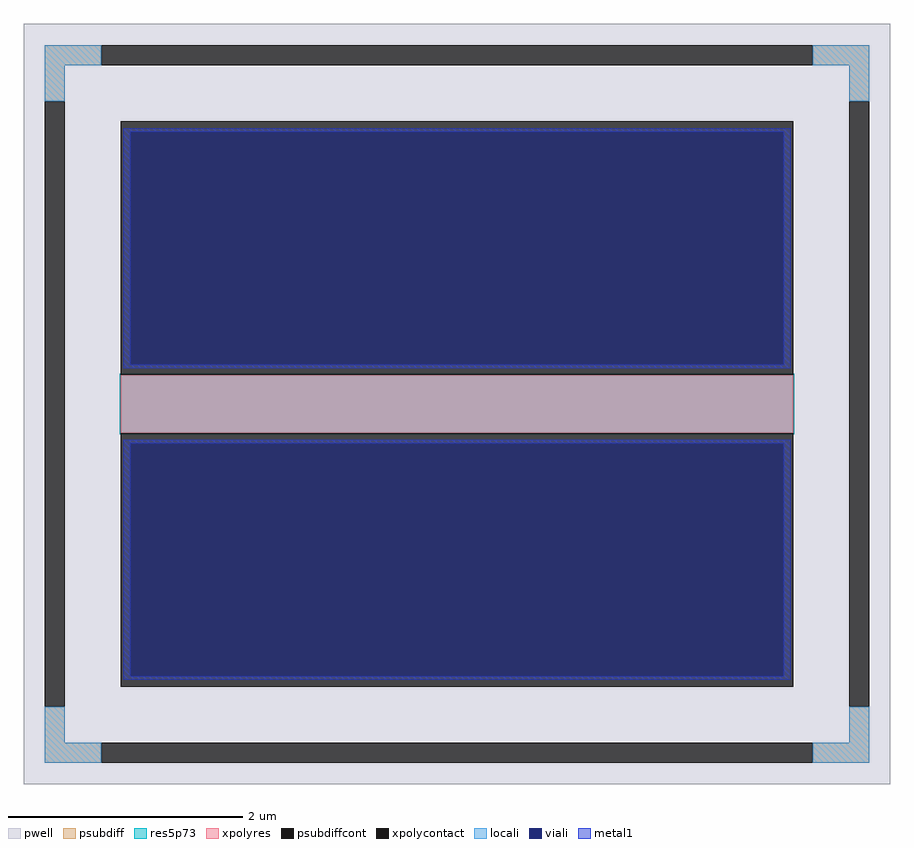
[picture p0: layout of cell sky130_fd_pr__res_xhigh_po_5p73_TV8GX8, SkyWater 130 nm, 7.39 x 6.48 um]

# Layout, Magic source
magic
tech sky130A
magscale 1 2
<< pwell >>
rect -739 -648 739 648
<< psubdiff >>
rect -703 578 -607 612
rect 607 578 703 612
rect -703 516 -669 578
rect 669 516 703 578
rect -703 -578 -669 -516
rect 669 -578 703 -516
rect -703 -612 -607 -578
rect 607 -612 703 -578
<< psubdiffcont >>
rect -607 578 607 612
rect -703 -516 -669 516
rect 669 -516 703 516
rect -607 -612 607 -578
<< xpolycontact >>
rect -573 50 573 482
rect -573 -482 573 -50
<< xpolyres >>
rect -573 -50 573 50
<< locali >>
rect -703 578 -607 612
rect 607 578 703 612
rect -703 516 -669 578
rect 669 516 703 578
rect -703 -578 -669 -516
rect 669 -578 703 -516
rect -703 -612 -607 -578
rect 607 -612 703 -578
<< viali >>
rect -557 67 557 464
rect -557 -464 557 -67
<< metal1 >>
rect -569 464 569 470
rect -569 67 -557 464
rect 557 67 569 464
rect -569 61 569 67
rect -569 -67 569 -61
rect -569 -464 -557 -67
rect 557 -464 569 -67
rect -569 -470 569 -464
<< res5p73 >>
rect -575 -52 575 52
<< properties >>
string FIXED_BBOX -686 -595 686 595
string gencell sky130_fd_pr__res_xhigh_po_5p73
string library sky130
string parameters w 5.730 l 0.50 m 1 nx 1 wmin 5.730 lmin 0.50 rho 2000 val 240.209 dummy 0 dw 0.0 term 188.2 sterm 0.0 caplen 0 wmax 5.730 guard 1 glc 1 grc 1 gtc 1 gbc 1 compatible {sky130_fd_pr__res_xhigh_po_0p35  sky130_fd_pr__res_xhigh_po_0p69 sky130_fd_pr__res_xhigh_po_1p41  sky130_fd_pr__res_xhigh_po_2p85 sky130_fd_pr__res_xhigh_po_5p73} full_metal 1 n_guard 0 hv_guard 0 vias 1 viagb 0 viagt 0 viagl 0 viagr 0
<< end >>
